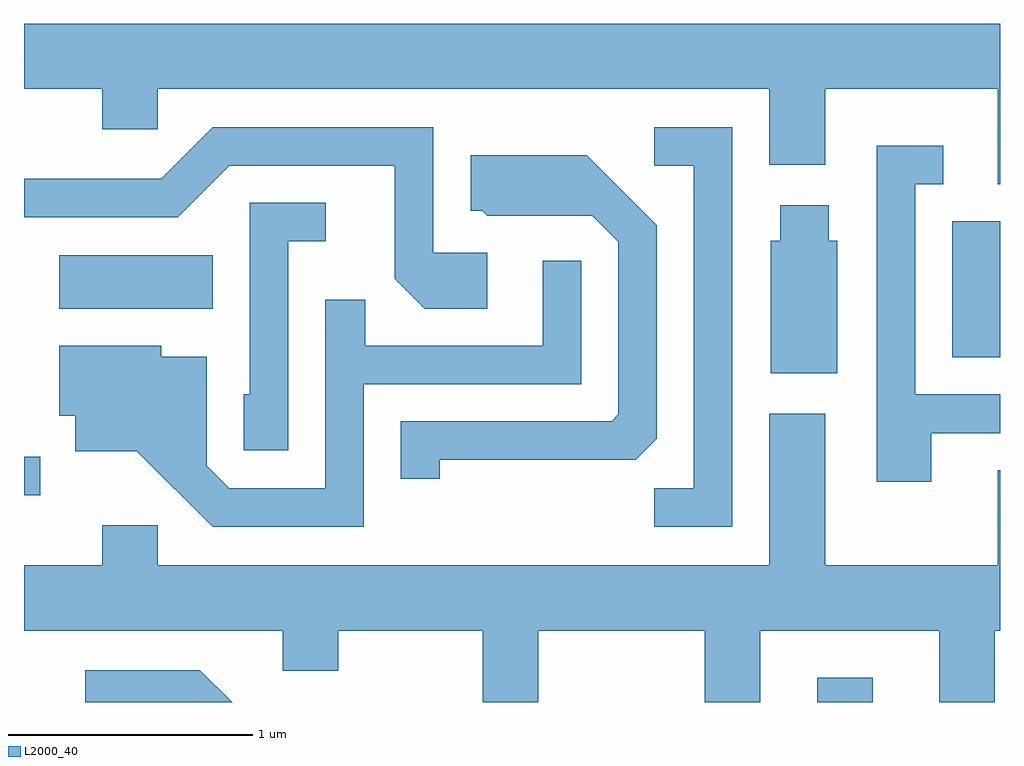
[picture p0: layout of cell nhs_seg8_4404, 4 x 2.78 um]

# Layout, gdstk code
import gdstk
lib = gdstk.Library(unit=1e-6, precision=1e-09)
def R(c, l, rs):  # rectangles x0, y0, x1, y1
    for r in rs: c.add(gdstk.rectangle(r[:2], r[2:], *l))
def P(c, l, *ps):  # polygons
    for p in ps: c.add(gdstk.Polygon(p, *l))
L2000_40 = (2000, 40)

nhs_seg8_4404 = lib.new_cell('nhs_seg8_4404')
R(nhs_seg8_4404, L2000_40, [(320.861,1838.342,321.089,1838.444), (317.611,1839.191,317.678,1839.349), (321.416,1839.756,321.611,1840.314), (317.756,1839.956,318.384,1840.174)])
P(nhs_seg8_4404, L2000_40, [(321.611,1841.124),(317.611,1841.124),(317.611,1840.856),(317.931,1840.856),(317.931,1840.691),(318.159,1840.691),(318.159,1840.856),(320.666,1840.856),(320.666,1840.546),(320.894,1840.546),(320.894,1840.856),(321.601,1840.856),(321.601,1840.466),(321.611,1840.466)],
  [(319.509,1840.184),(319.289,1840.184),(319.289,1840.699),(318.384,1840.699),(318.174,1840.489),(317.611,1840.489),(317.611,1840.331),(318.242,1840.331),(318.452,1840.541),(319.131,1840.541),(319.131,1840.079),(319.254,1839.956),(319.509,1839.956)],
  [(320.514,1840.699),(320.193,1840.699),(320.193,1840.541),(320.356,1840.541),(320.356,1839.219),(320.193,1839.219),(320.193,1839.061),(320.514,1839.061)],
  [(321.329,1839.446),(321.611,1839.446),(321.611,1839.604),(321.264,1839.604),(321.264,1840.466),(321.378,1840.466),(321.378,1840.624),(321.106,1840.624),(321.106,1839.246),(321.329,1839.246)],
  [(319.314,1839.336),(320.119,1839.336),(320.204,1839.422),(320.204,1840.297),(319.917,1840.584),(319.441,1840.584),(319.441,1840.356),(319.489,1840.356),(319.509,1840.336),(319.939,1840.336),(320.046,1840.229),(320.046,1839.522),(320.019,1839.494),(319.156,1839.494),(319.156,1839.258),(319.314,1839.258)],
  [(318.694,1840.231),(318.848,1840.231),(318.848,1840.389),(318.536,1840.389),(318.536,1839.604),(318.511,1839.604),(318.511,1839.376),(318.694,1839.376)],
  [(320.944,1840.234),(320.909,1840.234),(320.909,1840.379),(320.711,1840.379),(320.711,1840.234),(320.671,1840.234),(320.671,1839.691),(320.944,1839.691)],
  [(319.004,1839.646),(319.894,1839.646),(319.894,1840.153),(319.736,1840.153),(319.736,1839.804),(319.009,1839.804),(319.009,1839.993),(318.846,1839.993),(318.846,1839.219),(318.452,1839.219),(318.359,1839.312),(318.359,1839.759),(318.174,1839.759),(318.174,1839.804),(317.756,1839.804),(317.756,1839.516),(317.821,1839.516),(317.821,1839.371),(318.074,1839.371),(318.384,1839.061),(319.004,1839.061)],
  [(319.719,1838.636),(320.401,1838.636),(320.401,1838.342),(320.629,1838.342),(320.629,1838.636),(321.361,1838.636),(321.361,1838.342),(321.589,1838.342),(321.589,1838.636),(321.611,1838.636),(321.611,1839.294),(321.601,1839.294),(321.601,1838.904),(320.894,1838.904),(320.894,1839.524),(320.666,1839.524),(320.666,1838.904),(318.159,1838.904),(318.159,1839.069),(317.931,1839.069),(317.931,1838.904),(317.611,1838.904),(317.611,1838.636),(318.671,1838.636),(318.671,1838.471),(318.899,1838.471),(318.899,1838.636),(319.491,1838.636),(319.491,1838.342),(319.719,1838.342)],
  [(318.332,1838.474),(317.863,1838.474),(317.863,1838.342),(318.464,1838.342)])

lib.write_gds('nhs_seg8_4404.gds')
